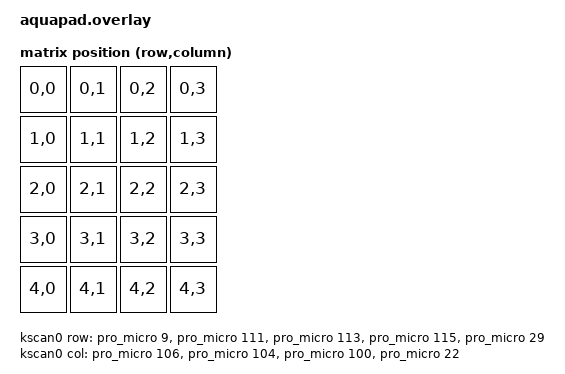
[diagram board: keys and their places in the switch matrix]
// Aqua Pad Overlay
// 
// Created: Aug 9 2025 21:41
//
// Edited: 2025-Aug-09 23:44

#include <dt-bindings/zmk/matrix_transform.h> 

/ {
    chosen {
        zmk,kscan = &kscan0;
        zmk,physical-layout = &physical_layout0;

    };
    kscan0: kscan0 {
        compatible = "zmk,kscan-gpio-matrix";
        diode-direction = "col2row"; 
        wakeup-source;

        col-gpios
            = <&pro_micro 106 GPIO_ACTIVE_HIGH>
            , <&pro_micro 104 GPIO_ACTIVE_HIGH>
            , <&pro_micro 100 GPIO_ACTIVE_HIGH>
            , <&pro_micro 22 GPIO_ACTIVE_HIGH> 
            ;
        row-gpios
            = <&pro_micro 9 (GPIO_ACTIVE_HIGH | GPIO_PULL_DOWN)>
            , <&pro_micro 111 (GPIO_ACTIVE_HIGH | GPIO_PULL_DOWN)>
            , <&pro_micro 113 (GPIO_ACTIVE_HIGH | GPIO_PULL_DOWN)>
            , <&pro_micro 115 (GPIO_ACTIVE_HIGH | GPIO_PULL_DOWN)>
            , <&pro_micro 29 (GPIO_ACTIVE_HIGH | GPIO_PULL_DOWN)>
            ;
    }; 
    default_transform: keymap_transform0 {
        compatible = "zmk,matrix-transform";
        columns = <4>; 
        rows = <5>; 
        map = <
             RC(0,0)  RC(0,1)   RC(0,2)  RC(0,3)
             RC(1,0)  RC(1,1)   RC(1,2)  RC(1,3)
             RC(2,0)  RC(2,1)   RC(2,2)  RC(2,3)
             RC(3,0)  RC(3,1)   RC(3,2)  RC(3,3)
             RC(4,0)  RC(4,1)   RC(4,2)  RC(4,3)
         >;
    };

    physical_layout0: physical_layout_0 { // First physical layout, use different naming for other layouts
        compatible = "zmk,physical-layout";
        display-name = "Default Layout";
        kscan = <&kscan0>; // Label of the kscan node, optional if all layouts use the same
        transform = <&default_transform>; // Label of the matrix transform for this layout
    };

};
